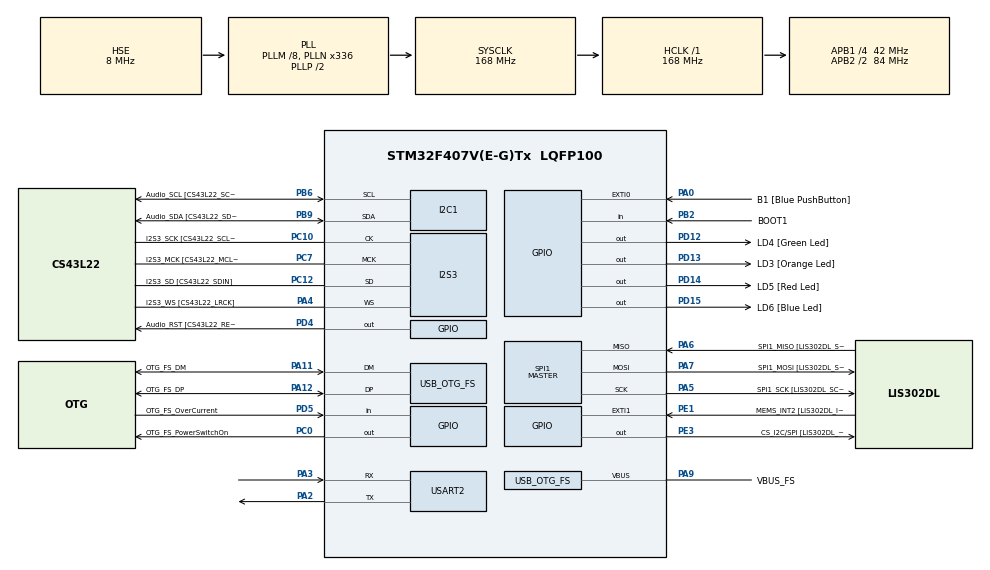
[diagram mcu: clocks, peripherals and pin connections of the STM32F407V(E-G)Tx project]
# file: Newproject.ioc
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I2C1.I2C_Mode=I2C_Fast
I2S3.AudioFreq-Half_Duplex_Master=I2S_AUDIOFREQ_96K
I2S3.ErrorAudioFreq=-2.34 %
I2S3.ErrorAudioFreq-Half_Duplex_Master=0.8 %
I2S3.FullDuplexMode=I2S_FULLDUPLEXMODE_DISABLE
I2S3.Instance=SPI$Index
I2S3.RealAudioFreq=93.75 KHz
I2S3.RealAudioFreq-Half_Duplex_Master=96.774 KHz
I2S3.VirtualMode=I2S_MODE_MASTER
Mcu.Family=STM32F4
Mcu.Name=STM32F407V(E-G)Tx
Mcu.Package=LQFP100
NVIC.OTG_FS_IRQn=true\:0\:0\:false\:false\:true\:true\:true
NVIC.PriorityGroup=NVIC_PRIORITYGROUP_0
PA0-WKUP.GPIO_Label=B1 [Blue PushButton]
PA0-WKUP.GPIO_ModeDefaultEXTI=GPIO_MODE_EVT_RISING
PA0-WKUP.GPIO_PuPd=GPIO_NOPULL
PA0-WKUP.Signal=GPXTI0
PA10.GPIO_Label=OTG_FS_ID
PA10.GPIO_Mode=GPIO_MODE_AF_PP
PA10.GPIO_PuPd=GPIO_NOPULL
PA10.GPIO_Speed=GPIO_SPEED_FREQ_LOW
PA10.Signal=USB_OTG_FS_ID
PA11.GPIO_Label=OTG_FS_DM
PA11.GPIO_Mode=GPIO_MODE_AF_PP
PA11.GPIO_PuPd=GPIO_NOPULL
PA11.GPIO_Speed=GPIO_SPEED_FREQ_LOW
PA11.Mode=Host_Only
PA11.Signal=USB_OTG_FS_DM
PA12.GPIO_Label=OTG_FS_DP
PA12.GPIO_Mode=GPIO_MODE_AF_PP
PA12.GPIO_PuPd=GPIO_NOPULL
PA12.GPIO_Speed=GPIO_SPEED_FREQ_LOW
PA12.Mode=Host_Only
PA12.Signal=USB_OTG_FS_DP
PA13.GPIO_Label=SWDIO
PA13.Mode=Serial_Wire
PA13.Signal=SYS_JTMS-SWDIO
PA14.GPIO_Label=SWCLK
PA14.Mode=Serial_Wire
PA14.Signal=SYS_JTCK-SWCLK
PA2.Mode=Asynchronous
PA2.Signal=USART2_TX
PA3.Mode=Asynchronous
PA3.Signal=USART2_RX
PA4.GPIO_Label=I2S3_WS [CS43L22_LRCK]
PA4.GPIO_Mode=GPIO_MODE_AF_PP
PA4.GPIO_PuPd=GPIO_NOPULL
PA4.GPIO_Speed=GPIO_SPEED_FREQ_LOW
PA4.Mode=Half_Duplex_Master
PA4.Signal=I2S3_WS
PA5.GPIO_Label=SPI1_SCK [LIS302DL_SCL/SPC]
PA5.GPIO_Mode=GPIO_MODE_AF_PP
PA5.GPIO_PuPd=GPIO_NOPULL
PA5.GPIO_Speed=GPIO_SPEED_FREQ_LOW
PA5.Mode=Full_Duplex_Master
PA5.Signal=SPI1_SCK
PA6.GPIO_Label=SPI1_MISO [LIS302DL_SDO]
PA6.GPIO_Mode=GPIO_MODE_AF_PP
PA6.GPIO_PuPd=GPIO_NOPULL
PA6.GPIO_Speed=GPIO_SPEED_FREQ_LOW
PA6.Mode=Full_Duplex_Master
PA6.Signal=SPI1_MISO
PA7.GPIO_Label=SPI1_MOSI [LIS302DL_SDA/SDI/SDO]
PA7.GPIO_Mode=GPIO_MODE_AF_PP
PA7.GPIO_PuPd=GPIO_NOPULL
PA7.GPIO_Speed=GPIO_SPEED_FREQ_LOW
PA7.Mode=Full_Duplex_Master
PA7.Signal=SPI1_MOSI
PA9.GPIO_Label=VBUS_FS
PA9.GPIO_Mode=GPIO_MODE_INPUT
PA9.GPIO_PuPd=GPIO_NOPULL
PA9.Mode=Activate_VBUS
PA9.Signal=USB_OTG_FS_VBUS
PB10.GPIO_Label=CLK_IN [MP45DT02_CLK]
PB10.GPIO_Mode=GPIO_MODE_AF_PP
PB10.GPIO_PuPd=GPIO_NOPULL
PB10.GPIO_Speed=GPIO_SPEED_FREQ_LOW
PB10.Signal=I2S2_CK
PB2.GPIO_Label=BOOT1
PB2.GPIO_Mode=GPIO_MODE_INPUT
PB2.GPIO_PuPd=GPIO_NOPULL
PB2.Signal=GPIO_Input
PB3.GPIO_Label=SWO
PB3.Signal=SYS_JTDO-SWO
PB6.GPIO_Label=Audio_SCL [CS43L22_SCL]
PB6.GPIO_Mode=GPIO_MODE_AF_OD
PB6.GPIO_PuPd=GPIO_NOPULL
PB6.GPIO_Speed=GPIO_SPEED_FREQ_LOW
PB6.Mode=I2C
PB6.Signal=I2C1_SCL
PB9.GPIO_Label=Audio_SDA [CS43L22_SDA]
PB9.GPIO_Mode=GPIO_MODE_AF_OD
PB9.GPIO_PuPd=GPIO_NOPULL
PB9.GPIO_Speed=GPIO_SPEED_FREQ_LOW
PB9.Mode=I2C
PB9.Signal=I2C1_SDA
PC0.GPIO_Label=OTG_FS_PowerSwitchOn
PC0.GPIO_PuPd=GPIO_NOPULL
PC0.GPIO_Speed=GPIO_SPEED_FREQ_LOW
PC0.PinState=GPIO_PIN_SET
PC0.Signal=GPIO_Output
PC10.GPIO_Label=I2S3_SCK [CS43L22_SCLK]
PC10.GPIO_Mode=GPIO_MODE_AF_PP
PC10.GPIO_PuPd=GPIO_NOPULL
PC10.GPIO_Speed=GPIO_SPEED_FREQ_LOW
PC10.Mode=Half_Duplex_Master
PC10.Signal=I2S3_CK
PC12.GPIO_Label=I2S3_SD [CS43L22_SDIN]
PC12.GPIO_Mode=GPIO_MODE_AF_PP
PC12.GPIO_PuPd=GPIO_NOPULL
PC12.GPIO_Speed=GPIO_SPEED_FREQ_LOW
PC12.Mode=Half_Duplex_Master
PC12.Signal=I2S3_SD
PC14-OSC32_IN.GPIO_Label=PC14-OSC32_IN
PC14-OSC32_IN.Mode=LSE-External-Oscillator
PC14-OSC32_IN.Signal=RCC_OSC32_IN
PC15-OSC32_OUT.GPIO_Label=PC15-OSC32_OUT
PC15-OSC32_OUT.Mode=LSE-External-Oscillator
PC15-OSC32_OUT.Signal=RCC_OSC32_OUT
PC3.GPIO_Label=PDM_OUT [MP45DT02_DOUT]
PC3.GPIO_Mode=GPIO_MODE_AF_PP
PC3.GPIO_PuPd=GPIO_NOPULL
PC3.GPIO_Speed=GPIO_SPEED_FREQ_LOW
PC3.Signal=I2S2_SD
PC7.GPIO_Label=I2S3_MCK [CS43L22_MCLK]
PC7.GPIO_Mode=GPIO_MODE_AF_PP
PC7.GPIO_PuPd=GPIO_NOPULL
PC7.GPIO_Speed=GPIO_SPEED_FREQ_LOW
PC7.Mode=Master_Clock_Activated
PC7.Signal=I2S3_MCK
PD12.GPIO_Label=LD4 [Green Led]
PD12.GPIO_PuPd=GPIO_NOPULL
PD12.GPIO_Speed=GPIO_SPEED_FREQ_LOW
PD12.Signal=GPIO_Output
PD13.GPIO_Label=LD3 [Orange Led]
PD13.GPIO_PuPd=GPIO_NOPULL
PD13.GPIO_Speed=GPIO_SPEED_FREQ_LOW
PD13.Signal=GPIO_Output
PD14.GPIO_Label=LD5 [Red Led]
PD14.GPIO_PuPd=GPIO_NOPULL
PD14.GPIO_Speed=GPIO_SPEED_FREQ_LOW
PD14.Signal=GPIO_Output
PD15.GPIO_Label=LD6 [Blue Led]
PD15.GPIO_PuPd=GPIO_NOPULL
PD15.GPIO_Speed=GPIO_SPEED_FREQ_LOW
PD15.Signal=GPIO_Output
PD4.GPIO_Label=Audio_RST [CS43L22_RESET]
PD4.GPIO_PuPd=GPIO_NOPULL
PD4.GPIO_Speed=GPIO_SPEED_FREQ_LOW
PD4.Signal=GPIO_Output
PD5.GPIO_Label=OTG_FS_OverCurrent
PD5.GPIO_Mode=GPIO_MODE_INPUT
PD5.GPIO_PuPd=GPIO_NOPULL
PD5.Signal=GPIO_Input
PE1.GPIO_Label=MEMS_INT2 [LIS302DL_INT2]
PE1.GPIO_ModeDefaultEXTI=GPIO_MODE_EVT_RISING
PE1.GPIO_PuPd=GPIO_NOPULL
PE1.Signal=GPXTI1
PE3.GPIO_Label=CS_I2C/SPI [LIS302DL_CS_I2C/SPI]
PE3.GPIO_PuPd=GPIO_NOPULL
PE3.GPIO_Speed=GPIO_SPEED_FREQ_LOW
PE3.Signal=GPIO_Output
PH0-OSC_IN.GPIO_Label=PH0-OSC_IN
PH0-OSC_IN.Mode=HSE-External-Oscillator
PH0-OSC_IN.Signal=RCC_OSC_IN
PH1-OSC_OUT.GPIO_Label=PH1-OSC_OUT
PH1-OSC_OUT.Mode=HSE-External-Oscillator
PH1-OSC_OUT.Signal=RCC_OSC_OUT
ProjectManager.HeapSize=0x200
ProjectManager.StackSize=0x400
ProjectManager.TargetToolchain=STM32CubeIDE
RCC.48MHZClocksFreq_Value=48000000
RCC.AHBFreq_Value=168000000
RCC.APB1CLKDivider=RCC_HCLK_DIV4
RCC.APB1Freq_Value=42000000
RCC.APB1TimFreq_Value=84000000
RCC.APB2CLKDivider=RCC_HCLK_DIV2
RCC.APB2Freq_Value=84000000
RCC.APB2TimFreq_Value=168000000
RCC.CortexFreq_Value=168000000
RCC.HCLKFreq_Value=168000000
RCC.HSE_VALUE=8000000
RCC.HSI_VALUE=16000000
RCC.PLLM=8
RCC.PLLN=336
RCC.PLLQ=7
RCC.SYSCLKFreq_VALUE=168000000
RCC.SYSCLKSource=RCC_SYSCLKSOURCE_PLLCLK
RCC.VCOOutputFreq_Value=336000000
SPI1.BaudRatePrescaler-Full_Duplex_Master=SPI_BAUDRATEPRESCALER_2
SPI1.CalculateBaudRate-Full_Duplex_Master=42.0 MBits/s
SPI1.Direction=SPI_DIRECTION_2LINES
SPI1.Mode=SPI_MODE_MASTER
SPI1.Mode-Full_Duplex_Master=SPI_MODE_MASTER
SPI1.VirtualType=VM_MASTER
USART2.VirtualMode=VM_ASYNC
USB_HOST.BSP.number=1
USB_HOST.USBH_HandleTypeDef-CDC_FS=hUsbHostFS
USB_HOST.VirtualModeFS=Cdc
USB_HOST0.BSP.STBoard=false
USB_HOST0.BSP.api=Unknown
USB_HOST0.BSP.i2caddr=0
USB_HOST0.BSP.i2creg=0
USB_HOST0.BSP.instance=PC0
USB_HOST0.BSP.ip=GPIO
USB_HOST0.BSP.mode=Output
USB_HOST0.BSP.name=Drive_VBUS_FS
USB_HOST0.BSP.solution=PC0
USB_OTG_FS.VirtualMode=Host_Only
USB_OTG_FS.phy_itface=HCD_PHY_EMBEDDED
VP_USB_HOST_VS_USB_HOST_CDC_FS.Mode=CDC_FS
board=STM32F4DISCOVERY

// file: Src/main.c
/* USER CODE BEGIN Header */
/**
  ******************************************************************************
  * @file           : main.c
  * @brief          : Main program body
  ******************************************************************************
  * @attention
  *
  * <h2><center>&copy; Copyright (c) 2019 STMicroelectronics.
  * All rights reserved.</center></h2>
  *
  * This software component is licensed by ST under Ultimate Liberty license
  * SLA0044, the "License"; You may not use this file except in compliance with
  * the License. You may obtain a copy of the License at:
  *                             www.st.com/SLA0044
  *
  ******************************************************************************
  */
/* USER CODE END Header */

#include "main.h"
#include "usb_host.h"

I2C_HandleTypeDef hi2c1;

I2S_HandleTypeDef hi2s3;

SPI_HandleTypeDef hspi1;

UART_HandleTypeDef huart2;

void SystemClock_Config(void);
static void MX_GPIO_Init(void);
static void MX_I2C1_Init(void);
static void MX_I2S3_Init(void);
static void MX_SPI1_Init(void);
static void MX_USART2_UART_Init(void);
void MX_USB_HOST_Process(void);

/* USER CODE BEGIN 0 */
#define MPU6050_ADDR 0xD0

#define SMPLRT_DIV_REG 0x19
#define GYRO_CONFIG_REG 0x1B
#define ACCEL_CONFIG_REG 0x1C
#define ACCEL_XOUT_H_REG 0x3B
#define TEMP_OUT_H_REG 0x41
#define GYRO_XOUT_H_REG 0x43
#define PWR_MGMT_1_REG 0x6B
#define WHO_AM_I_REG 0x75

int16_t Accel_X_RAW, Accel_Y_RAW, Accel_Z_RAW, Gyro_X_RAW, Gyro_Y_RAW, Gyro_Z_RAW;
float Ax,Ay,Az,Gx,Gy,Gz;
float Gtotal;
float Atotal;
float lastAtotal;
float deltaAtotal;
int count = 0;
int fall = 0;
int time = 0;
char sendfall[1] = "f";
char sendnotfall[1] = "n";
int t = 0;
void MPU6050_init(void){
	uint8_t check, Data;

	HAL_I2C_Mem_Read (&hi2c1, MPU6050_ADDR,WHO_AM_I_REG,1, &check, 1, 1000);

	if(check == 104){
		Data = 0;
		HAL_I2C_Mem_Write(&hi2c1, MPU6050_ADDR, PWR_MGMT_1_REG,1,&Data,1,1000);

		Data = 0x07;
		HAL_I2C_Mem_Write(&hi2c1, MPU6050_ADDR, SMPLRT_DIV_REG,1,&Data,1,1000);

		Data = 0x00;
		HAL_I2C_Mem_Write(&hi2c1, MPU6050_ADDR, ACCEL_CONFIG_REG,1,&Data,1,1000);

		Data = 0x00;
		HAL_I2C_Mem_Write(&hi2c1, MPU6050_ADDR, GYRO_CONFIG_REG,1,&Data,1,1000);
	}
}

void MPU6050_Read_Accel(void){
	uint8_t Rec_Data[6];

	HAL_I2C_Mem_Read (&hi2c1, MPU6050_ADDR, ACCEL_XOUT_H_REG, 1, Rec_Data, 6, 1000);

	Accel_X_RAW = (int16_t)(Rec_Data[0] << 8 | Rec_Data [1]);
	Accel_Y_RAW = (int16_t)(Rec_Data[2] << 8 | Rec_Data [3]);
	Accel_Z_RAW = (int16_t)(Rec_Data[4] << 8 | Rec_Data [5]);

	Ax = Accel_X_RAW/16384.0;  // get the float g
	Ay = Accel_Y_RAW/16384.0;
	Az = Accel_Z_RAW/16384.0;
}

void MPU6050_Read_Gyro(void){
	uint8_t Rec_Data[6];

	HAL_I2C_Mem_Read (&hi2c1, MPU6050_ADDR, GYRO_XOUT_H_REG, 1, Rec_Data, 6, 1000);

	Gyro_X_RAW = (int16_t)(Rec_Data[0] << 8 | Rec_Data [1]);
	Gyro_Y_RAW = (int16_t)(Rec_Data[2] << 8 | Rec_Data [3]);
	Gyro_Z_RAW = (int16_t)(Rec_Data[4] << 8 | Rec_Data [5]);

	Gx = Gyro_X_RAW/131.0;
	Gy = Gyro_Y_RAW/131.0;
	Gz = Gyro_Z_RAW/131.0;
}

/* USER CODE END 0 */

int main(void)
{

  /* MCU Configuration--------------------------------------------------------*/

  /* Reset of all peripherals, Initializes the Flash interface and the Systick. */
  HAL_Init();

  /* Configure the system clock */
  SystemClock_Config();

  /* Initialize all configured peripherals */
  MX_GPIO_Init();
  MX_I2C1_Init();
  MX_I2S3_Init();
  MX_SPI1_Init();
  MX_USB_HOST_Init();
  MX_USART2_UART_Init();
  /* USER CODE BEGIN 2 */
  MPU6050_init();
  /* USER CODE END 2 */

  /* Infinite loop */
  /* USER CODE BEGIN WHILE */
  lastAtotal = 0;
  while (1)
  {
	  MPU6050_Read_Accel();
	  MPU6050_Read_Gyro();
	  if(fall == 0 || count < 100){
		  if(time == 10){
			  HAL_UART_Transmit(&huart2, sendnotfall, sizeof(sendnotfall), 100);
			  time = 0;
		  }
	  }else if(fall == 1 && count >= 100){
		  if(time == 10){
			  HAL_UART_Transmit(&huart2, sendfall, sizeof(sendfall), 100);
			  time = 0;
		  }
	  }
	  //HAL_GPIO_TogglePin(GPIOD, LD3_Pin);
	  Atotal = sqrt( pow(Ax,2) + pow(Ay,2) + pow(Az,2) );
	  deltaAtotal = (Atotal - lastAtotal);
	  HAL_Delay(100);
	  time++;
	  lastAtotal = Atotal;
	  Gtotal = sqrt( pow(Gx,2) + pow(Gy,2) + pow(Gz,2) );
	  if(Gtotal >= 250 && deltaAtotal >= 1){
		  fall = 1;
	  }
	  if(fall == 1){
		  HAL_GPIO_TogglePin(GPIOD, LD3_Pin);
		  HAL_GPIO_TogglePin(GPIOD, LD4_Pin);
		  HAL_GPIO_TogglePin(GPIOD, LD5_Pin);
		  HAL_GPIO_TogglePin(GPIOD, LD6_Pin);
	      count++;
	      //if(count == 150){
	    	  //fall = 0;

	    	  //count = 0;
	      //}
	  }
    /* USER CODE END WHILE */
    MX_USB_HOST_Process();

  }
}

void SystemClock_Config(void)
{
  RCC_OscInitTypeDef RCC_OscInitStruct = {0};
  RCC_ClkInitTypeDef RCC_ClkInitStruct = {0};
  RCC_PeriphCLKInitTypeDef PeriphClkInitStruct = {0};

  /** Configure the main internal regulator output voltage
  */
  __HAL_RCC_PWR_CLK_ENABLE();
  __HAL_PWR_VOLTAGESCALING_CONFIG(PWR_REGULATOR_VOLTAGE_SCALE1);
  /** Initializes the CPU, AHB and APB busses clocks
  */
  RCC_OscInitStruct.OscillatorType = RCC_OSCILLATORTYPE_HSE;
  RCC_OscInitStruct.HSEState = RCC_HSE_ON;
  RCC_OscInitStruct.PLL.PLLState = RCC_PLL_ON;
  RCC_OscInitStruct.PLL.PLLSource = RCC_PLLSOURCE_HSE;
  RCC_OscInitStruct.PLL.PLLM = 8;
  RCC_OscInitStruct.PLL.PLLN = 336;
  RCC_OscInitStruct.PLL.PLLP = RCC_PLLP_DIV2;
  RCC_OscInitStruct.PLL.PLLQ = 7;
  if (HAL_RCC_OscConfig(&RCC_OscInitStruct) != HAL_OK)
  {
    Error_Handler();
  }
  /** Initializes the CPU, AHB and APB busses clocks
  */
  RCC_ClkInitStruct.ClockType = RCC_CLOCKTYPE_HCLK|RCC_CLOCKTYPE_SYSCLK
                              |RCC_CLOCKTYPE_PCLK1|RCC_CLOCKTYPE_PCLK2;
  RCC_ClkInitStruct.SYSCLKSource = RCC_SYSCLKSOURCE_PLLCLK;
  RCC_ClkInitStruct.AHBCLKDivider = RCC_SYSCLK_DIV1;
  RCC_ClkInitStruct.APB1CLKDivider = RCC_HCLK_DIV4;
  RCC_ClkInitStruct.APB2CLKDivider = RCC_HCLK_DIV2;

  if (HAL_RCC_ClockConfig(&RCC_ClkInitStruct, FLASH_LATENCY_5) != HAL_OK)
  {
    Error_Handler();
  }
  PeriphClkInitStruct.PeriphClockSelection = RCC_PERIPHCLK_I2S;
  PeriphClkInitStruct.PLLI2S.PLLI2SN = 192;
  PeriphClkInitStruct.PLLI2S.PLLI2SR = 2;
  if (HAL_RCCEx_PeriphCLKConfig(&PeriphClkInitStruct) != HAL_OK)
  {
    Error_Handler();
  }
}

static void MX_I2C1_Init(void)
{

  hi2c1.Instance = I2C1;
  hi2c1.Init.ClockSpeed = 400000;
  hi2c1.Init.DutyCycle = I2C_DUTYCYCLE_2;
  hi2c1.Init.OwnAddress1 = 0;
  hi2c1.Init.AddressingMode = I2C_ADDRESSINGMODE_7BIT;
  hi2c1.Init.DualAddressMode = I2C_DUALADDRESS_DISABLE;
  hi2c1.Init.OwnAddress2 = 0;
  hi2c1.Init.GeneralCallMode = I2C_GENERALCALL_DISABLE;
  hi2c1.Init.NoStretchMode = I2C_NOSTRETCH_DISABLE;
  if (HAL_I2C_Init(&hi2c1) != HAL_OK)
  {
    Error_Handler();
  }

}

static void MX_I2S3_Init(void)
{

  hi2s3.Instance = SPI3;
  hi2s3.Init.Mode = I2S_MODE_MASTER_TX;
  hi2s3.Init.Standard = I2S_STANDARD_PHILIPS;
  hi2s3.Init.DataFormat = I2S_DATAFORMAT_16B;
  hi2s3.Init.MCLKOutput = I2S_MCLKOUTPUT_ENABLE;
  hi2s3.Init.AudioFreq = I2S_AUDIOFREQ_96K;
  hi2s3.Init.CPOL = I2S_CPOL_LOW;
  hi2s3.Init.ClockSource = I2S_CLOCK_PLL;
  hi2s3.Init.FullDuplexMode = I2S_FULLDUPLEXMODE_DISABLE;
  if (HAL_I2S_Init(&hi2s3) != HAL_OK)
  {
    Error_Handler();
  }

}

static void MX_SPI1_Init(void)
{

  /* SPI1 parameter configuration*/
  hspi1.Instance = SPI1;
  hspi1.Init.Mode = SPI_MODE_MASTER;
  hspi1.Init.Direction = SPI_DIRECTION_2LINES;
  hspi1.Init.DataSize = SPI_DATASIZE_8BIT;
  hspi1.Init.CLKPolarity = SPI_POLARITY_LOW;
  hspi1.Init.CLKPhase = SPI_PHASE_1EDGE;
  hspi1.Init.NSS = SPI_NSS_SOFT;
  hspi1.Init.BaudRatePrescaler = SPI_BAUDRATEPRESCALER_2;
  hspi1.Init.FirstBit = SPI_FIRSTBIT_MSB;
  hspi1.Init.TIMode = SPI_TIMODE_DISABLE;
  hspi1.Init.CRCCalculation = SPI_CRCCALCULATION_DISABLE;
  hspi1.Init.CRCPolynomial = 10;
  if (HAL_SPI_Init(&hspi1) != HAL_OK)
  {
    Error_Handler();
  }

}

static void MX_USART2_UART_Init(void)
{

  huart2.Instance = USART2;
  huart2.Init.BaudRate = 115200;
  huart2.Init.WordLength = UART_WORDLENGTH_8B;
  huart2.Init.StopBits = UART_STOPBITS_1;
  huart2.Init.Parity = UART_PARITY_NONE;
  huart2.Init.Mode = UART_MODE_TX_RX;
  huart2.Init.HwFlowCtl = UART_HWCONTROL_NONE;
  huart2.Init.OverSampling = UART_OVERSAMPLING_16;
  if (HAL_UART_Init(&huart2) != HAL_OK)
  {
    Error_Handler();
  }

}

static void MX_GPIO_Init(void)
{
  GPIO_InitTypeDef GPIO_InitStruct = {0};

  /* GPIO Ports Clock Enable */
  __HAL_RCC_GPIOE_CLK_ENABLE();
  __HAL_RCC_GPIOC_CLK_ENABLE();
  __HAL_RCC_GPIOH_CLK_ENABLE();
  __HAL_RCC_GPIOA_CLK_ENABLE();
  __HAL_RCC_GPIOB_CLK_ENABLE();
  __HAL_RCC_GPIOD_CLK_ENABLE();

  /*Configure GPIO pin Output Level */
  HAL_GPIO_WritePin(CS_I2C_SPI_GPIO_Port, CS_I2C_SPI_Pin, GPIO_PIN_RESET);

  /*Configure GPIO pin Output Level */
  HAL_GPIO_WritePin(OTG_FS_PowerSwitchOn_GPIO_Port, OTG_FS_PowerSwitchOn_Pin, GPIO_PIN_SET);

  /*Configure GPIO pin Output Level */
  HAL_GPIO_WritePin(GPIOD, LD4_Pin|LD3_Pin|LD5_Pin|LD6_Pin
                          |Audio_RST_Pin, GPIO_PIN_RESET);

  /*Configure GPIO pin : CS_I2C_SPI_Pin */
  GPIO_InitStruct.Pin = CS_I2C_SPI_Pin;
  GPIO_InitStruct.Mode = GPIO_MODE_OUTPUT_PP;
  GPIO_InitStruct.Pull = GPIO_NOPULL;
  GPIO_InitStruct.Speed = GPIO_SPEED_FREQ_LOW;
  HAL_GPIO_Init(CS_I2C_SPI_GPIO_Port, &GPIO_InitStruct);

  /*Configure GPIO pin : OTG_FS_PowerSwitchOn_Pin */
  GPIO_InitStruct.Pin = OTG_FS_PowerSwitchOn_Pin;
  GPIO_InitStruct.Mode = GPIO_MODE_OUTPUT_PP;
  GPIO_InitStruct.Pull = GPIO_NOPULL;
  GPIO_InitStruct.Speed = GPIO_SPEED_FREQ_LOW;
  HAL_GPIO_Init(OTG_FS_PowerSwitchOn_GPIO_Port, &GPIO_InitStruct);

  /*Configure GPIO pin : PDM_OUT_Pin */
  GPIO_InitStruct.Pin = PDM_OUT_Pin;
  GPIO_InitStruct.Mode = GPIO_MODE_AF_PP;
  GPIO_InitStruct.Pull = GPIO_NOPULL;
  GPIO_InitStruct.Speed = GPIO_SPEED_FREQ_LOW;
  GPIO_InitStruct.Alternate = GPIO_AF5_SPI2;
  HAL_GPIO_Init(PDM_OUT_GPIO_Port, &GPIO_InitStruct);

  /*Configure GPIO pin : B1_Pin */
  GPIO_InitStruct.Pin = B1_Pin;
  GPIO_InitStruct.Mode = GPIO_MODE_EVT_RISING;
  GPIO_InitStruct.Pull = GPIO_NOPULL;
  HAL_GPIO_Init(B1_GPIO_Port, &GPIO_InitStruct);

  /*Configure GPIO pin : BOOT1_Pin */
  GPIO_InitStruct.Pin = BOOT1_Pin;
  GPIO_InitStruct.Mode = GPIO_MODE_INPUT;
  GPIO_InitStruct.Pull = GPIO_NOPULL;
  HAL_GPIO_Init(BOOT1_GPIO_Port, &GPIO_InitStruct);

  /*Configure GPIO pin : CLK_IN_Pin */
  GPIO_InitStruct.Pin = CLK_IN_Pin;
  GPIO_InitStruct.Mode = GPIO_MODE_AF_PP;
  GPIO_InitStruct.Pull = GPIO_NOPULL;
  GPIO_InitStruct.Speed = GPIO_SPEED_FREQ_LOW;
  GPIO_InitStruct.Alternate = GPIO_AF5_SPI2;
  HAL_GPIO_Init(CLK_IN_GPIO_Port, &GPIO_InitStruct);

  /*Configure GPIO pins : LD4_Pin LD3_Pin LD5_Pin LD6_Pin
                           Audio_RST_Pin */
  GPIO_InitStruct.Pin = LD4_Pin|LD3_Pin|LD5_Pin|LD6_Pin
                          |Audio_RST_Pin;
  GPIO_InitStruct.Mode = GPIO_MODE_OUTPUT_PP;
  GPIO_InitStruct.Pull = GPIO_NOPULL;
  GPIO_InitStruct.Speed = GPIO_SPEED_FREQ_LOW;
  HAL_GPIO_Init(GPIOD, &GPIO_InitStruct);

  /*Configure GPIO pin : OTG_FS_OverCurrent_Pin */
  GPIO_InitStruct.Pin = OTG_FS_OverCurrent_Pin;
  GPIO_InitStruct.Mode = GPIO_MODE_INPUT;
  GPIO_InitStruct.Pull = GPIO_NOPULL;
  HAL_GPIO_Init(OTG_FS_OverCurrent_GPIO_Port, &GPIO_InitStruct);

  /*Configure GPIO pin : MEMS_INT2_Pin */
  GPIO_InitStruct.Pin = MEMS_INT2_Pin;
  GPIO_InitStruct.Mode = GPIO_MODE_EVT_RISING;
  GPIO_InitStruct.Pull = GPIO_NOPULL;
  HAL_GPIO_Init(MEMS_INT2_GPIO_Port, &GPIO_InitStruct);

}

void Error_Handler(void)
{
}

/************************ (C) COPYRIGHT STMicroelectronics *****END OF FILE****/
